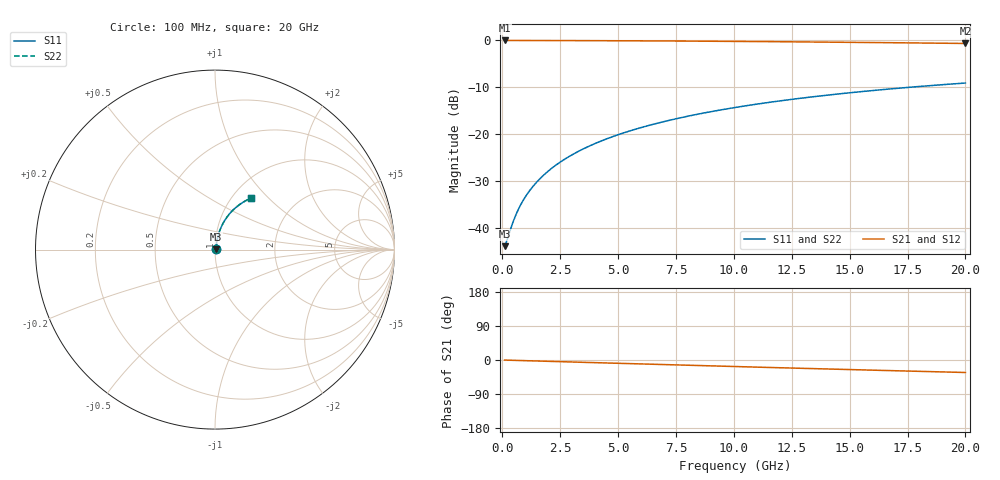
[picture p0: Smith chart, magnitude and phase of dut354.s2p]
! Touchstone file exported from HFSS 2026.1.0
!  File:  C:/ffzhzh/LocalFiles/Ansys_Project_Files/temp_train_BSMRDL_354_1783011437_55676.aedt
!  Generated:  12:59:01 AM Jul  3, 2026
!  Design:  BSMRDL
!  Project:  temp_train_BSMRDL_354_1783011437_55676
! Variables:
!  h_bsmrdl = 2.27um
!  h_ox = 20um
!  h_rdl = 5um
!  h_sub = 80um
!  h_tmrdl = 5um
!  h_tsv = 80um
!  h_via = 3um
!  l_bsmrdl = 448.11um
!  l_sub = 848.11um
!  l_tmrdl = 200um
!  m_sub = 200um
!  pitch = 31.84um
!  r_tsv = 6um
!  s_tmrdl = 10um
!  w_bsmrdl = 11.75um
!  w_sub = 500um
!  w_tmrdl = 12um
!  x_tsv_center1 = 206um
!  x_tsv_center2 = 665.86um
!  x_tsv_center3 = 877.86um
!  x_tsv_center4 = 1337.72um
!  x_tsv_center5 = 1549.72um
!  x_tsv_center6 = 2009.58um
# GHz S MA R 50.000000
! Terminal data exported
! Port[1] = BSM_RDL1_1_T1
! Port[2] = BSM_RDL1_1_T2
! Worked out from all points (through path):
!   200 points, 100 MHz to 20 GHz, reference 50 ohm
!   highest |S21| = -0.05 dB at 100 MHz (marker M1); lowest = -0.7 dB at 20 GHz (marker M2)
!   group delay of S21, straight-line fit = 4.59 ps
!   lowest |S11| = -43.8 dB at 100 MHz (marker M3), VSWR 1.01, Z = 50.6 + j0.214 ohm
!   |S11| at or under -10 dB: start of sweep to 17.63 GHz
!   |S22| runs from -43.8 to -9.1 dB; largest |S21 - S12| = 2.3e-15
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0.1  0.006437 19.1  0.9939 -0.2  0.9939 -0.2  0.006437 19.1
! Gamma 0 0 0 0
! Port Impedance 50 0 50 0
0.2  0.007449 34.4  0.9939 -0.4  0.9939 -0.4  0.007449 34.4
0.4  0.01051 52.7  0.9937 -0.7  0.9937 -0.7  0.01051 52.7
0.5  0.01228 57.9  0.9936 -0.9  0.9936 -0.9  0.01228 57.9
0.7  0.01597 64.5  0.9933 -1.3  0.9933 -1.3  0.01597 64.5
0.8  0.01786 66.7  0.9932 -1.4  0.9932 -1.4  0.01786 66.7
1  0.02165 69.8  0.993 -1.8  0.993 -1.8  0.02165 69.8
1.3  0.02737 72.8  0.9926 -2.3  0.9926 -2.3  0.02737 72.8
1.7  0.03503 75.1  0.9922 -3.0  0.9922 -3.0  0.03503 75.1
2.2  0.04466 76.6  0.9916 -3.9  0.9916 -3.9  0.04466 76.6
2.8  0.05626 77.4  0.9909 -4.9  0.9909 -4.9  0.05626 77.4
3.5  0.06981 77.5  0.9899 -6.1  0.9899 -6.1  0.06981 77.5
4.2  0.08332 77.2  0.9887 -7.3  0.9887 -7.3  0.08332 77.2
5  0.0987 76.6  0.987 -8.7  0.987 -8.7  0.0987 76.6
5.9  0.1159 75.6  0.9849 -10.3  0.9849 -10.3  0.1159 75.6
6.8  0.1328 74.5  0.9825 -11.8  0.9825 -11.8  0.1329 74.5
8.3  0.1607 72.4  0.9779 -14.3  0.9779 -14.3  0.1607 72.4
10.1  0.1932 69.8  0.9714 -17.4  0.9714 -17.4  0.1932 69.8
11.7  0.2212 67.3  0.9649 -20.0  0.9649 -20.0  0.2212 67.3
13.4  0.2499 64.8  0.9574 -22.7  0.9574 -22.7  0.2499 64.8
16.7  0.3023 59.8  0.9411 -27.9  0.9411 -27.9  0.3023 59.8
20  0.3502 54.9  0.9236 -33.0  0.9236 -33.0  0.3502 54.9
